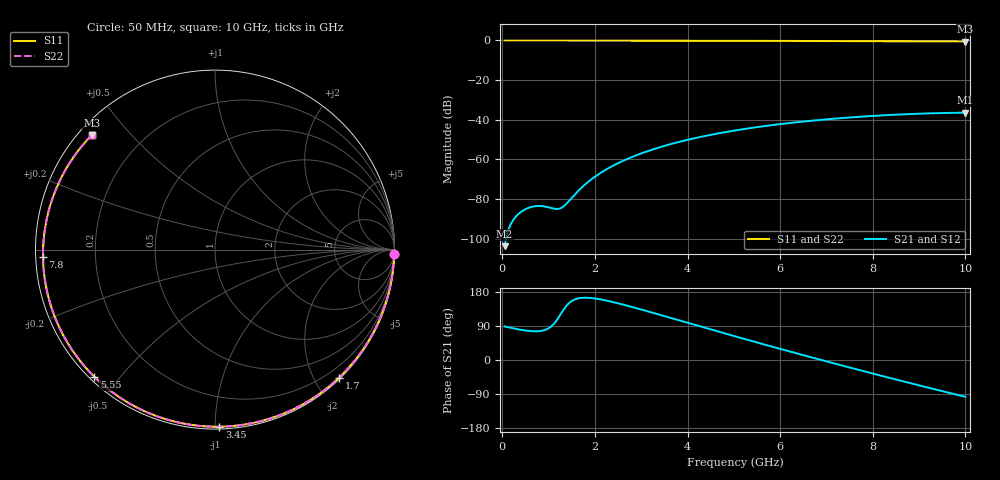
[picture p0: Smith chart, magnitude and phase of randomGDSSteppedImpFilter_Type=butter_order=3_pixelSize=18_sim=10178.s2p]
! freq	dB(S11)	phase(S11)	dB(S12)	phase(S12)
!  dB(S21)	phase(S21)	dB(S22)	phase(S22)
!S-par simulation data
#  GHz  S  DB  R 50
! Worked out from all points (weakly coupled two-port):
!   200 points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, 50 MHz to 10 GHz, reference 50 ohm
!   highest |S21| = -36.44 dB at 10 GHz (marker M1); lowest = -103.8 dB at 50 MHz (marker M2)
!   lowest |S11| = -0.6 dB at 10 GHz (marker M3), VSWR 30.92, Z = 1.87 + j19.6 ohm
!   |S11| at or under -10 dB: nowhere
!   |S22| runs from -0.6 to 0.0 dB; largest |S21 - S12| = 0
!   S11 on the Smith chart (normalised r, x): 50 MHz: 2, -86; 1.7 GHz: 0.02, -2.36; 3.45 GHz: 0.01, -1.02; 5.55 GHz: 0.01, -0.43; 7.8 GHz: 0.02, -0.02; 10 GHz: 0.04, +0.39
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0.05  -0.01 -1.3  -103.82 88.6  -103.82 88.6  -0.00 -1.3
0.7  -0.03 -19.2  -83.69 75.7  -83.69 75.7  -0.03 -19.2
1.05  -0.04 -28.7  -84.51 88.0  -84.51 88.0  -0.04 -28.7
1.45  -0.05 -39.3  -80.76 151.1  -80.76 151.1  -0.05 -39.3
1.5  -0.05 -40.7  -79.45 155.6  -79.45 155.6  -0.05 -40.6
1.7  -0.06 -45.9  -74.56 163.7  -74.56 163.7  -0.06 -45.8
1.75  -0.06 -47.2  -73.47 164.2  -73.47 164.2  -0.06 -47.1
2.05  -0.07 -54.9  -67.97 161.4  -67.97 161.4  -0.07 -54.8
2.45  -0.08 -64.9  -62.52 151.0  -62.52 151.0  -0.08 -64.8
2.9  -0.09 -75.8  -57.89 136.6  -57.89 136.6  -0.09 -75.7
3.4  -0.11 -87.5  -53.90 119.3  -53.90 119.3  -0.11 -87.4
3.45  -0.11 -88.6  -53.55 117.6  -53.55 117.6  -0.11 -88.6
4.2  -0.14 -105.4  -49.09 91.2  -49.09 91.2  -0.14 -105.3
5.05  -0.18 -123.3  -45.34 61.7  -45.34 61.7  -0.18 -123.3
5.55  -0.20 -133.5  -43.58 44.6  -43.58 44.6  -0.20 -133.4
6.15  -0.24 -145.4  -41.81 24.4  -41.81 24.4  -0.24 -145.4
6.7  -0.28 -156.2  -40.46 6.2  -40.46 6.2  -0.28 -156.2
7.25  -0.32 -166.9  -39.33 -11.8  -39.33 -11.8  -0.32 -166.9
7.8  -0.36 -177.7  -38.39 -29.4  -38.39 -29.4  -0.36 -177.7
8.35  -0.41 171.4  -37.63 -46.8  -37.63 -46.8  -0.41 171.5
9.15  -0.48 155.2  -36.85 -71.6  -36.85 -71.6  -0.48 155.2
10  -0.56 137.1  -36.44 -97.0  -36.44 -97.0  -0.56 137.1
